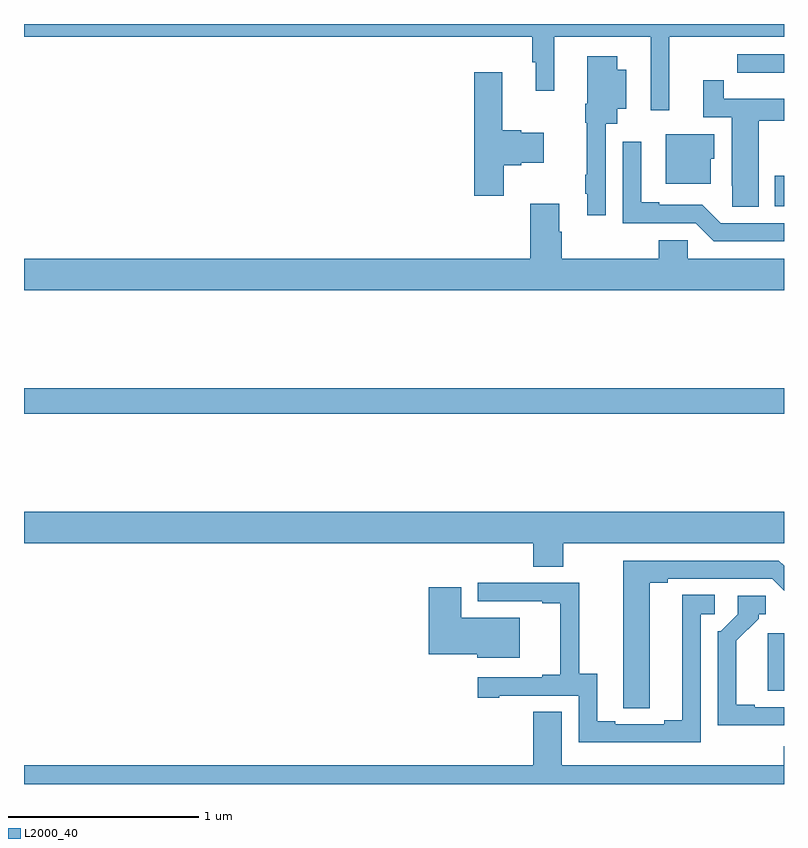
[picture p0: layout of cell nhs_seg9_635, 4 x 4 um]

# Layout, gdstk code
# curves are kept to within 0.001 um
import gdstk
lib = gdstk.Library(unit=1e-6, precision=1e-09)
def R(c, l, rs):  # rectangles x0, y0, x1, y1
    for r in rs: c.add(gdstk.rectangle(r[:2], r[2:], *l))
def P(c, l, *ps):  # polygons
    for p in ps: c.add(gdstk.Polygon(p, *l))
L2000_40 = (2000, 40)

nhs_seg9_635 = lib.new_cell('nhs_seg9_635')
R(nhs_seg9_635, L2000_40, [(146.915,1180.99,147,1181.293), (143,1182.448,147,1182.584), (146.951,1183.541,147,1183.701)])
P(nhs_seg9_635, L2000_40, [(146.396,1184.432),(147,1184.432),(147,1184.5),(143,1184.5),(143,1184.432),(145.675,1184.432),(145.675,1184.298),(145.694,1184.298),(145.694,1184.148),(145.792,1184.148),(145.792,1184.432),(146.298,1184.432),(146.298,1184.046),(146.396,1184.046)],
  [(147,1184.34),(146.754,1184.34),(146.754,1184.244),(146.866,1184.244),(146.866,1184.243),(147,1184.243)],
  [(146.061,1183.976),(146.122,1183.976),(146.122,1184.054),(146.17,1184.054),(146.17,1184.26),(146.122,1184.26),(146.122,1184.329),(145.964,1184.329),(145.964,1184.08),(145.953,1184.08),(145.953,1183.98),(145.963,1183.98),(145.963,1183.706),(145.953,1183.706),(145.953,1183.606),(145.964,1183.606),(145.964,1183.494),(146.061,1183.494)],
  [(145.524,1183.757),(145.617,1183.757),(145.617,1183.769),(145.735,1183.769),(145.735,1183.927),(145.617,1183.927),(145.617,1183.94),(145.516,1183.94),(145.516,1184.245),(145.37,1184.245),(145.37,1183.596),(145.524,1183.596)],
  [(146.866,1183.99),(147,1183.99),(147,1184.106),(146.684,1184.106),(146.684,1184.203),(146.576,1184.203),(146.576,1184.01),(146.726,1184.01),(146.726,1183.648),(146.727,1183.648),(146.727,1183.537),(146.866,1183.537)],
  [(146.614,1183.791),(146.632,1183.791),(146.632,1183.921),(146.378,1183.921),(146.378,1183.658),(146.614,1183.658)],
  [(147,1183.452),(146.667,1183.452),(146.571,1183.548),(146.344,1183.548),(146.344,1183.561),(146.248,1183.561),(146.248,1183.879),(146.151,1183.879),(146.151,1183.452),(146.535,1183.452),(146.631,1183.356),(147,1183.356)],
  [(147,1183.264),(146.493,1183.264),(146.493,1183.362),(146.342,1183.362),(146.342,1183.264),(145.829,1183.264),(145.829,1183.406),(145.816,1183.406),(145.816,1183.555),(145.664,1183.555),(145.664,1183.264),(143,1183.264),(143,1183.1),(147,1183.1)],
  [(145.839,1181.768),(147,1181.768),(147,1181.932),(143,1181.932),(143,1181.768),(145.679,1181.768),(145.679,1181.644),(145.839,1181.644)],
  [(146.293,1181.56),(146.389,1181.56),(146.389,1181.58),(146.937,1181.58),(147,1181.518),(147,1181.649),(146.973,1181.676),(146.153,1181.676),(146.153,1181.008),(146.154,1181.008),(146.154,1180.9),(146.293,1180.9)],
  [(146.562,1181.394),(146.635,1181.394),(146.635,1181.495),(146.465,1181.495),(146.465,1180.835),(146.369,1180.835),(146.369,1180.815),(146.113,1180.815),(146.113,1180.83),(146.017,1180.83),(146.017,1181.081),(145.923,1181.081),(145.923,1181.559),(145.389,1181.559),(145.389,1181.463),(145.727,1181.463),(145.727,1181.451),(145.823,1181.451),(145.823,1181.074),(145.727,1181.074),(145.727,1181.061),(145.389,1181.061),(145.389,1180.953),(145.501,1180.953),(145.501,1180.965),(145.92,1180.965),(145.92,1180.719),(146.562,1180.719)],
  [(145.609,1181.374),(145.3,1181.374),(145.3,1181.536),(145.13,1181.536),(145.13,1181.183),(145.386,1181.183),(145.386,1181.165),(145.609,1181.165)],
  [(146.915,1180.809),(147,1180.809),(147,1180.905),(146.845,1180.905),(146.845,1180.918),(146.749,1180.918),(146.749,1181.254),(146.866,1181.371),(146.866,1181.394),(146.905,1181.394),(146.905,1181.49),(146.757,1181.49),(146.757,1181.394),(146.667,1181.304),(146.652,1181.304),(146.652,1180.808)],
  [(147,1180.698),(146.999,1180.698),(146.999,1180.6),(145.831,1180.6),(145.831,1180.88),(145.679,1180.88),(145.679,1180.6),(143,1180.6),(143,1180.5),(147,1180.5)])

lib.write_gds('nhs_seg9_635.gds')
